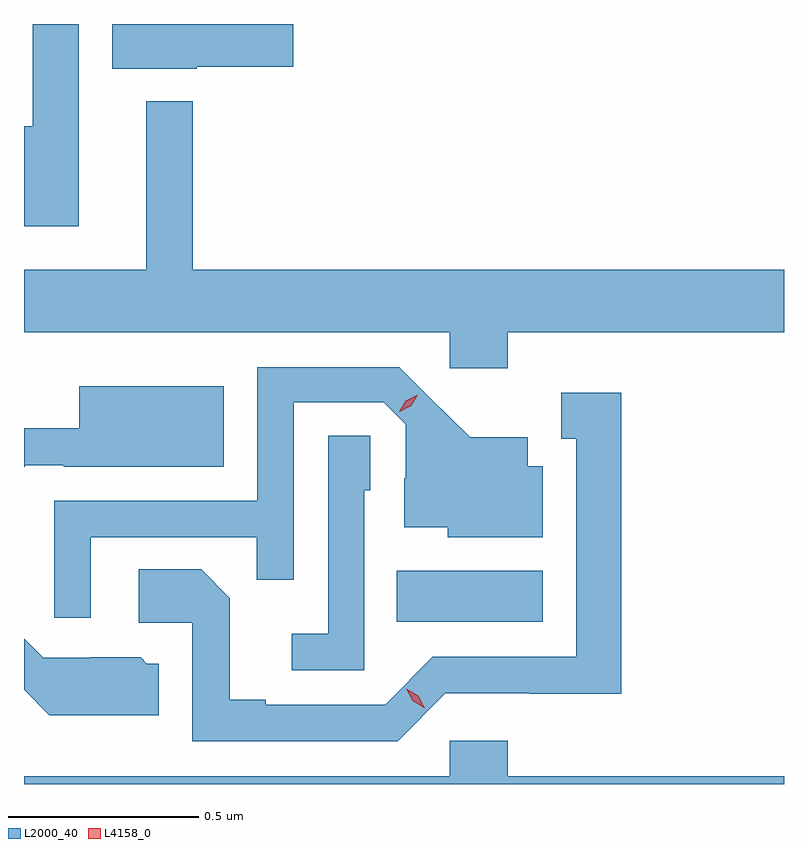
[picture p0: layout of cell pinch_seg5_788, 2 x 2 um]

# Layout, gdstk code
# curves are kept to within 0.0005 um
import gdstk
lib = gdstk.Library(unit=1e-6, precision=1e-09)
def R(c, l, rs):  # rectangles x0, y0, x1, y1
    for r in rs: c.add(gdstk.rectangle(r[:2], r[2:], *l))
def P(c, l, *ps):  # polygons
    for p in ps: c.add(gdstk.Polygon(p, *l))
L2000_40 = (2000, 40)
L4158_0 = (4158, 0)

pinch_seg5_788 = lib.new_cell('pinch_seg5_788')
R(pinch_seg5_788, L2000_40, [(793.6,907.946,793.984,908.08)])
P(pinch_seg5_788, L2000_40, [(793.074,909.407),(793.327,909.407),(793.327,909.519),(792.851,909.519),(792.851,909.401),(793.074,909.401)],
  [(792.763,909.519),(792.642,909.519),(792.642,909.25),(792.619,909.25),(792.619,908.987),(792.763,908.987)],
  [(793.892,908.708),(794.619,908.708),(794.619,908.872),(793.063,908.872),(793.063,909.316),(792.941,909.316),(792.941,908.872),(792.619,908.872),(792.619,908.708),(793.74,908.708),(793.74,908.613),(793.892,908.613)],
  [(792.795,908.169),(793.231,908.169),(793.231,908.056),(793.329,908.056),(793.329,908.523),(793.566,908.523),(793.623,908.466),(793.623,908.324),(793.619,908.324),(793.619,908.195),(793.734,908.195),(793.734,908.168),(793.984,908.168),(793.984,908.355),(793.945,908.355),(793.945,908.431),(793.793,908.431),(793.606,908.616),(793.233,908.616),(793.233,908.265),(792.699,908.265),(792.699,907.956),(792.795,907.956)],
  [(792.624,908.358),(792.724,908.358),(792.724,908.354),(793.144,908.354),(793.144,908.566),(792.764,908.566),(792.764,908.455),(792.619,908.455),(792.619,908.353)],
  [(793.728,907.758),(793.95,907.758),(793.95,907.757),(794.191,907.757),(794.191,908.548),(794.033,908.548),(794.033,908.427),(794.072,908.427),(794.072,907.854),(793.695,907.854),(793.569,907.728),(793.255,907.728),(793.255,907.741),(793.161,907.741),(793.161,908.008),(793.085,908.084),(792.921,908.084),(792.921,907.944),(793.062,907.944),(793.062,907.632),(793.602,907.632)],
  [(793.515,908.292),(793.53,908.292),(793.53,908.435),(793.419,908.435),(793.419,907.915),(793.323,907.915),(793.323,907.818),(793.515,907.818)],
  [(792.973,907.836),(792.942,907.836),(792.926,907.852),(792.792,907.852),(792.792,907.851),(792.669,907.851),(792.619,907.901),(792.619,907.767),(792.685,907.7),(792.973,907.7)],
  [(794.619,907.54),(793.892,907.54),(793.892,907.633),(793.74,907.633),(793.74,907.54),(792.619,907.54),(792.619,907.519),(794.619,907.519)])
P(pinch_seg5_788, L4158_0, [(793.607,908.498),(793.607,908.498),(793.624,908.528),(793.655,908.544),(793.655,908.544),(793.655,908.543),(793.638,908.514),(793.608,908.498)],
  [(793.674,907.719),(793.642,907.738),(793.625,907.77),(793.625,907.77),(793.625,907.77),(793.657,907.751),(793.674,907.719),(793.674,907.719)])

lib.write_gds('pinch_seg5_788.gds')
